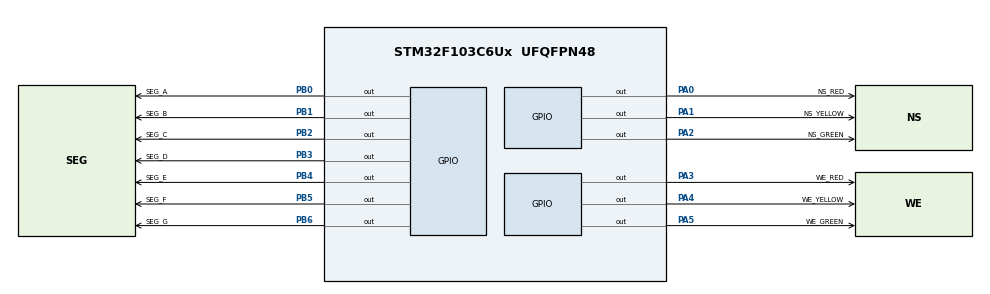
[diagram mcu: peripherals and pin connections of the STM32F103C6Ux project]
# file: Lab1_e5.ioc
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Mcu.Family=STM32F1
Mcu.Name=STM32F103C6Ux
Mcu.Package=UFQFPN48
NVIC.PriorityGroup=NVIC_PRIORITYGROUP_4
PA0-WKUP.GPIO_Label=NS_RED
PA0-WKUP.Signal=GPIO_Output
PA1.GPIO_Label=NS_YELLOW
PA1.Signal=GPIO_Output
PA2.GPIO_Label=NS_GREEN
PA2.Signal=GPIO_Output
PA3.GPIO_Label=WE_RED
PA3.Signal=GPIO_Output
PA4.GPIO_Label=WE_YELLOW
PA4.Signal=GPIO_Output
PA5.GPIO_Label=WE_GREEN
PA5.Signal=GPIO_Output
PB0.GPIO_Label=SEG_A
PB0.Signal=GPIO_Output
PB1.GPIO_Label=SEG_B
PB1.Signal=GPIO_Output
PB2.GPIO_Label=SEG_C
PB2.Signal=GPIO_Output
PB3.GPIO_Label=SEG_D
PB3.Signal=GPIO_Output
PB4.GPIO_Label=SEG_E
PB4.Signal=GPIO_Output
PB5.GPIO_Label=SEG_F
PB5.Signal=GPIO_Output
PB6.GPIO_Label=SEG_G
PB6.Signal=GPIO_Output
ProjectManager.HeapSize=0x200
ProjectManager.StackSize=0x400
ProjectManager.TargetToolchain=STM32CubeIDE
RCC.APB1Freq_Value=8000000
RCC.APB2Freq_Value=8000000
VP_SYS_VS_ND.Mode=No_Debug
board=custom

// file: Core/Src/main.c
/* USER CODE BEGIN Header */
/**
  ******************************************************************************
  * @file           : main.c
  * @brief          : Main program body
  ******************************************************************************
  * @attention
  *
  * <h2><center>&copy; Copyright (c) 2026 STMicroelectronics.
  * All rights reserved.</center></h2>
  *
  * This software component is licensed by ST under BSD 3-Clause license,
  * the "License"; You may not use this file except in compliance with the
  * License. You may obtain a copy of the License at:
  *                        opensource.org/licenses/BSD-3-Clause
  *
  ******************************************************************************
  */
/* USER CODE END Header */
#include "main.h"

void SystemClock_Config(void);
static void MX_GPIO_Init(void);

/* USER CODE BEGIN 0 */
void display7SEG(int num)
{
    /*
     * Bit order:
     * bit 0 = a
     * bit 1 = b
     * bit 2 = c
     * bit 3 = d
     * bit 4 = e
     * bit 5 = f
     * bit 6 = g
     *
     * A 1 in the table means that the segment should be ON.
     */
    static const uint8_t digit_pattern[10] =
    {
        0x3F,   // 0: a b c d e f
        0x06,   // 1:   b c
        0x5B,   // 2: a b   d e   g
        0x4F,   // 3: a b c d     g
        0x66,   // 4:   b c     f g
        0x6D,   // 5: a   c d   f g
        0x7D,   // 6: a   c d e f g
        0x07,   // 7: a b c
        0x7F,   // 8: a b c d e f g
        0x6F    // 9: a b c d   f g
    };

    if (num < 0 || num > 9)
    {
        num = 0;
    }

    uint8_t pattern = digit_pattern[num];

    HAL_GPIO_WritePin(SEG_A_GPIO_Port, SEG_A_Pin,
                      (pattern & (1U << 0)) ? GPIO_PIN_RESET : GPIO_PIN_SET);

    HAL_GPIO_WritePin(SEG_B_GPIO_Port, SEG_B_Pin,
                      (pattern & (1U << 1)) ? GPIO_PIN_RESET : GPIO_PIN_SET);

    HAL_GPIO_WritePin(SEG_C_GPIO_Port, SEG_C_Pin,
                      (pattern & (1U << 2)) ? GPIO_PIN_RESET : GPIO_PIN_SET);

    HAL_GPIO_WritePin(SEG_D_GPIO_Port, SEG_D_Pin,
                      (pattern & (1U << 3)) ? GPIO_PIN_RESET : GPIO_PIN_SET);

    HAL_GPIO_WritePin(SEG_E_GPIO_Port, SEG_E_Pin,
                      (pattern & (1U << 4)) ? GPIO_PIN_RESET : GPIO_PIN_SET);

    HAL_GPIO_WritePin(SEG_F_GPIO_Port, SEG_F_Pin,
                      (pattern & (1U << 5)) ? GPIO_PIN_RESET : GPIO_PIN_SET);

    HAL_GPIO_WritePin(SEG_G_GPIO_Port, SEG_G_Pin,
                      (pattern & (1U << 6)) ? GPIO_PIN_RESET : GPIO_PIN_SET);
}

void runPhase(uint8_t seconds)
{
    for (int time_left = seconds; time_left > 0; time_left--)
    {
        display7SEG(time_left);
        HAL_Delay(1000);
    }
}
/* USER CODE END 0 */

int main(void)
{

  /* MCU Configuration--------------------------------------------------------*/

  /* Reset of all peripherals, Initializes the Flash interface and the Systick. */
  HAL_Init();

  /* Configure the system clock */
  SystemClock_Config();

  /* Initialize all configured peripherals */
  MX_GPIO_Init();

  /* Infinite loop */
  /* USER CODE BEGIN WHILE */
  /* USER CODE BEGIN WHILE */
  while (1)
  {
      /*
       * Phase 1: NS_RED (3s) & WE_GREEN (3s)
       * North/South: RED
       * West/East: GREEN
       */
      HAL_GPIO_WritePin(NS_RED_GPIO_Port,
                        NS_RED_Pin,
                        GPIO_PIN_RESET);

      HAL_GPIO_WritePin(NS_YELLOW_GPIO_Port,
                        NS_YELLOW_Pin,
                        GPIO_PIN_SET);

      HAL_GPIO_WritePin(NS_GREEN_GPIO_Port,
                        NS_GREEN_Pin,
                        GPIO_PIN_SET);

      HAL_GPIO_WritePin(WE_RED_GPIO_Port,
                        WE_RED_Pin,
                        GPIO_PIN_SET);

      HAL_GPIO_WritePin(WE_YELLOW_GPIO_Port,
                        WE_YELLOW_Pin,
                        GPIO_PIN_SET);

      HAL_GPIO_WritePin(WE_GREEN_GPIO_Port,
                        WE_GREEN_Pin,
                        GPIO_PIN_RESET);

      runPhase(3);

      /*
       * Phase 2: NS_RED (continued for 2s, total 5s) & WE_YELLOW (2s)
       * North/South: RED
       * West/East: YELLOW
       */
      HAL_GPIO_WritePin(NS_RED_GPIO_Port,
                        NS_RED_Pin,
                        GPIO_PIN_RESET);

      HAL_GPIO_WritePin(NS_YELLOW_GPIO_Port,
                        NS_YELLOW_Pin,
                        GPIO_PIN_SET);

      HAL_GPIO_WritePin(NS_GREEN_GPIO_Port,
                        NS_GREEN_Pin,
                        GPIO_PIN_SET);

      HAL_GPIO_WritePin(WE_RED_GPIO_Port,
                        WE_RED_Pin,
                        GPIO_PIN_SET);

      HAL_GPIO_WritePin(WE_YELLOW_GPIO_Port,
                        WE_YELLOW_Pin,
                        GPIO_PIN_RESET);

      HAL_GPIO_WritePin(WE_GREEN_GPIO_Port,
                        WE_GREEN_Pin,
                        GPIO_PIN_SET);

      runPhase(2);

      /*
       * Phase 3: WE_RED (3s) & NS_GREEN (3s)
       * North/South: GREEN
       * West/East: RED
       */
      HAL_GPIO_WritePin(NS_RED_GPIO_Port,
                        NS_RED_Pin,
                        GPIO_PIN_SET);

      HAL_GPIO_WritePin(NS_YELLOW_GPIO_Port,
                        NS_YELLOW_Pin,
                        GPIO_PIN_SET);

      HAL_GPIO_WritePin(NS_GREEN_GPIO_Port,
                        NS_GREEN_Pin,
                        GPIO_PIN_RESET);

      HAL_GPIO_WritePin(WE_RED_GPIO_Port,
                        WE_RED_Pin,
                        GPIO_PIN_RESET);

      HAL_GPIO_WritePin(WE_YELLOW_GPIO_Port,
                        WE_YELLOW_Pin,
                        GPIO_PIN_SET);

      HAL_GPIO_WritePin(WE_GREEN_GPIO_Port,
                        WE_GREEN_Pin,
                        GPIO_PIN_SET);

      runPhase(3);

      /*
       * Phase 4: WE_RED (continued for 2s, total 5s) & NS_YELLOW (2s)
       * North/South: YELLOW
       * West/East: RED
       */
      HAL_GPIO_WritePin(NS_RED_GPIO_Port,
                        NS_RED_Pin,
                        GPIO_PIN_SET);

      HAL_GPIO_WritePin(NS_YELLOW_GPIO_Port,
                        NS_YELLOW_Pin,
                        GPIO_PIN_RESET);

      HAL_GPIO_WritePin(NS_GREEN_GPIO_Port,
                        NS_GREEN_Pin,
                        GPIO_PIN_SET);

      HAL_GPIO_WritePin(WE_RED_GPIO_Port,
                        WE_RED_Pin,
                        GPIO_PIN_RESET);

      HAL_GPIO_WritePin(WE_YELLOW_GPIO_Port,
                        WE_YELLOW_Pin,
                        GPIO_PIN_SET);

      HAL_GPIO_WritePin(WE_GREEN_GPIO_Port,
                        WE_GREEN_Pin,
                        GPIO_PIN_SET);

      runPhase(2);
  }
    /* USER CODE END WHILE */

}

void SystemClock_Config(void)
{
  RCC_OscInitTypeDef RCC_OscInitStruct = {0};
  RCC_ClkInitTypeDef RCC_ClkInitStruct = {0};

  /** Initializes the RCC Oscillators according to the specified parameters
  * in the RCC_OscInitTypeDef structure.
  */
  RCC_OscInitStruct.OscillatorType = RCC_OSCILLATORTYPE_HSI;
  RCC_OscInitStruct.HSIState = RCC_HSI_ON;
  RCC_OscInitStruct.HSICalibrationValue = RCC_HSICALIBRATION_DEFAULT;
  RCC_OscInitStruct.PLL.PLLState = RCC_PLL_NONE;
  if (HAL_RCC_OscConfig(&RCC_OscInitStruct) != HAL_OK)
  {
    Error_Handler();
  }
  /** Initializes the CPU, AHB and APB buses clocks
  */
  RCC_ClkInitStruct.ClockType = RCC_CLOCKTYPE_HCLK|RCC_CLOCKTYPE_SYSCLK
                              |RCC_CLOCKTYPE_PCLK1|RCC_CLOCKTYPE_PCLK2;
  RCC_ClkInitStruct.SYSCLKSource = RCC_SYSCLKSOURCE_HSI;
  RCC_ClkInitStruct.AHBCLKDivider = RCC_SYSCLK_DIV1;
  RCC_ClkInitStruct.APB1CLKDivider = RCC_HCLK_DIV1;
  RCC_ClkInitStruct.APB2CLKDivider = RCC_HCLK_DIV1;

  if (HAL_RCC_ClockConfig(&RCC_ClkInitStruct, FLASH_LATENCY_0) != HAL_OK)
  {
    Error_Handler();
  }
}

static void MX_GPIO_Init(void)
{
  GPIO_InitTypeDef GPIO_InitStruct = {0};

  /* GPIO Ports Clock Enable */
  __HAL_RCC_GPIOA_CLK_ENABLE();
  __HAL_RCC_GPIOB_CLK_ENABLE();

  /*Configure GPIO pin Output Level */
  HAL_GPIO_WritePin(GPIOA, NS_RED_Pin|NS_YELLOW_Pin|NS_GREEN_Pin|WE_RED_Pin
                          |WE_YELLOW_Pin|WE_GREEN_Pin, GPIO_PIN_RESET);

  /*Configure GPIO pin Output Level */
  HAL_GPIO_WritePin(GPIOB, SEG_A_Pin|SEG_B_Pin|SEG_C_Pin|SEG_D_Pin
                          |SEG_E_Pin|SEG_F_Pin|SEG_G_Pin, GPIO_PIN_RESET);

  /*Configure GPIO pins : NS_RED_Pin NS_YELLOW_Pin NS_GREEN_Pin WE_RED_Pin
                           WE_YELLOW_Pin WE_GREEN_Pin */
  GPIO_InitStruct.Pin = NS_RED_Pin|NS_YELLOW_Pin|NS_GREEN_Pin|WE_RED_Pin
                          |WE_YELLOW_Pin|WE_GREEN_Pin;
  GPIO_InitStruct.Mode = GPIO_MODE_OUTPUT_PP;
  GPIO_InitStruct.Pull = GPIO_NOPULL;
  GPIO_InitStruct.Speed = GPIO_SPEED_FREQ_LOW;
  HAL_GPIO_Init(GPIOA, &GPIO_InitStruct);

  /*Configure GPIO pins : SEG_A_Pin SEG_B_Pin SEG_C_Pin SEG_D_Pin
                           SEG_E_Pin SEG_F_Pin SEG_G_Pin */
  GPIO_InitStruct.Pin = SEG_A_Pin|SEG_B_Pin|SEG_C_Pin|SEG_D_Pin
                          |SEG_E_Pin|SEG_F_Pin|SEG_G_Pin;
  GPIO_InitStruct.Mode = GPIO_MODE_OUTPUT_PP;
  GPIO_InitStruct.Pull = GPIO_NOPULL;
  GPIO_InitStruct.Speed = GPIO_SPEED_FREQ_LOW;
  HAL_GPIO_Init(GPIOB, &GPIO_InitStruct);

}

void Error_Handler(void)
{
  __disable_irq();
  while (1)
  {
  }
}

/************************ (C) COPYRIGHT STMicroelectronics *****END OF FILE****/
